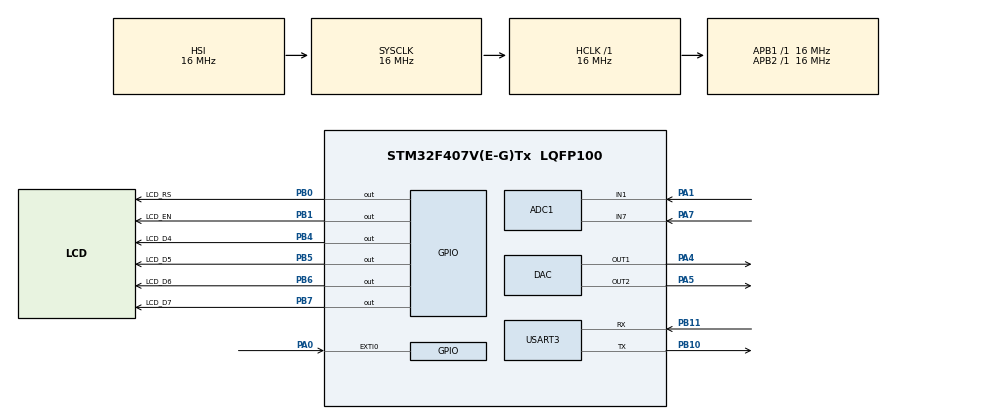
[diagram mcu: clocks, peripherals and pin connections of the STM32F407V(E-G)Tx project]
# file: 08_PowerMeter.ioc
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ADC1.Channel-1\#ChannelRegularConversion=ADC_CHANNEL_1
ADC1.Channel-3\#ChannelRegularConversion=ADC_CHANNEL_7
ADC1.DMAContinuousRequests=ENABLE
ADC1.EOCSelection=ADC_EOC_SEQ_CONV
ADC1.ExternalTrigConv=ADC_EXTERNALTRIGCONV_T3_TRGO
ADC1.NbrOfConversion=2
ADC1.NbrOfConversionFlag=1
ADC1.Rank-1\#ChannelRegularConversion=1
ADC1.Rank-3\#ChannelRegularConversion=2
ADC1.SamplingTime-1\#ChannelRegularConversion=ADC_SAMPLETIME_3CYCLES
ADC1.SamplingTime-3\#ChannelRegularConversion=ADC_SAMPLETIME_3CYCLES
ADC1.ScanConvMode=ENABLE
ADC1.master=1
DAC.DAC_Trigger=DAC_TRIGGER_T6_TRGO
DAC.DAC_Trigger2=DAC_TRIGGER_T6_TRGO
Dma.ADC1.0.Direction=DMA_PERIPH_TO_MEMORY
Dma.ADC1.0.FIFOMode=DMA_FIFOMODE_DISABLE
Dma.ADC1.0.Instance=DMA2_Stream0
Dma.ADC1.0.MemDataAlignment=DMA_MDATAALIGN_HALFWORD
Dma.ADC1.0.MemInc=DMA_MINC_ENABLE
Dma.ADC1.0.Mode=DMA_CIRCULAR
Dma.ADC1.0.PeriphDataAlignment=DMA_PDATAALIGN_HALFWORD
Dma.ADC1.0.PeriphInc=DMA_PINC_DISABLE
Dma.ADC1.0.Priority=DMA_PRIORITY_LOW
Dma.DAC1.1.Direction=DMA_MEMORY_TO_PERIPH
Dma.DAC1.1.FIFOMode=DMA_FIFOMODE_DISABLE
Dma.DAC1.1.Instance=DMA1_Stream5
Dma.DAC1.1.MemDataAlignment=DMA_MDATAALIGN_HALFWORD
Dma.DAC1.1.MemInc=DMA_MINC_ENABLE
Dma.DAC1.1.Mode=DMA_CIRCULAR
Dma.DAC1.1.PeriphDataAlignment=DMA_PDATAALIGN_HALFWORD
Dma.DAC1.1.PeriphInc=DMA_PINC_DISABLE
Dma.DAC1.1.Priority=DMA_PRIORITY_LOW
Dma.DAC2.2.Direction=DMA_MEMORY_TO_PERIPH
Dma.DAC2.2.FIFOMode=DMA_FIFOMODE_DISABLE
Dma.DAC2.2.Instance=DMA1_Stream6
Dma.DAC2.2.MemDataAlignment=DMA_MDATAALIGN_HALFWORD
Dma.DAC2.2.MemInc=DMA_MINC_ENABLE
Dma.DAC2.2.Mode=DMA_CIRCULAR
Dma.DAC2.2.PeriphDataAlignment=DMA_PDATAALIGN_HALFWORD
Dma.DAC2.2.PeriphInc=DMA_PINC_DISABLE
Dma.DAC2.2.Priority=DMA_PRIORITY_LOW
Dma.Request0=ADC1
Dma.Request1=DAC1
Dma.Request2=DAC2
Mcu.Family=STM32F4
Mcu.Name=STM32F407V(E-G)Tx
Mcu.Package=LQFP100
NVIC.DMA1_Stream5_IRQn=true\:0\:0\:false\:false\:true\:false\:true\:true
NVIC.DMA1_Stream6_IRQn=true\:0\:0\:false\:false\:true\:false\:true\:true
NVIC.DMA2_Stream0_IRQn=true\:0\:0\:false\:false\:true\:false\:true\:true
NVIC.EXTI0_IRQn=true\:0\:0\:false\:false\:true\:true\:true\:true
NVIC.PriorityGroup=NVIC_PRIORITYGROUP_4
NVIC.TIM2_IRQn=true\:0\:0\:false\:false\:true\:true\:true\:true
NVIC.TIM4_IRQn=true\:0\:0\:false\:false\:true\:true\:true\:true
PA0-WKUP.GPIO_ModeDefaultEXTI=GPIO_MODE_IT_RISING_FALLING
PA0-WKUP.GPIO_PuPd=GPIO_NOPULL
PA0-WKUP.Signal=GPXTI0
PA1.Signal=ADCx_IN1
PA4.Signal=COMP_DAC1_group
PA5.Signal=COMP_DAC2_group
PA7.Signal=ADCx_IN7
PB0.GPIO_Label=LCD_RS
PB0.Signal=GPIO_Output
PB1.GPIO_Label=LCD_EN
PB1.Signal=GPIO_Output
PB10.Mode=Asynchronous
PB10.Signal=USART3_TX
PB11.Mode=Asynchronous
PB11.Signal=USART3_RX
PB4.GPIO_Label=LCD_D4
PB4.Signal=GPIO_Output
PB5.GPIO_Label=LCD_D5
PB5.Signal=GPIO_Output
PB6.GPIO_Label=LCD_D6
PB6.Signal=GPIO_Output
PB7.GPIO_Label=LCD_D7
PB7.Signal=GPIO_Output
ProjectManager.HeapSize=0x200
ProjectManager.StackSize=0x400
ProjectManager.TargetToolchain=STM32CubeIDE
RCC.AHBFreq_Value=16000000
RCC.APB1Freq_Value=16000000
RCC.APB2Freq_Value=16000000
RCC.CortexFreq_Value=16000000
RCC.HSE_VALUE=25000000
RCC.HSI_VALUE=16000000
RCC.LSE_VALUE=32768
RCC.SYSCLKFreq_VALUE=16000000
RCC.VCOOutputFreq_Value=192000000
SH.ADCx_IN1.0=ADC1_IN1,IN1
SH.ADCx_IN7.0=ADC1_IN7,IN7
SH.COMP_DAC1_group.0=DAC_OUT1,DAC_OUT1
SH.COMP_DAC2_group.0=DAC_OUT2,DAC_OUT2
TIM2.Period=499
TIM2.Prescaler=15999
TIM3.Period=799
TIM3.Prescaler=3
TIM3.TIM_MasterOutputTrigger=TIM_TRGO_UPDATE
TIM4.Period=999
TIM4.Prescaler=15999
TIM6.Period=799
TIM6.Prescaler=3
TIM6.TIM_MasterOutputTrigger=TIM_TRGO_UPDATE
USART3.VirtualMode=VM_ASYNC
VP_TIM2_VS_ClockSourceINT.Mode=Internal
VP_TIM3_VS_ClockSourceINT.Mode=Internal
VP_TIM4_VS_ClockSourceINT.Mode=Internal
VP_TIM6_VS_ClockSourceINT.Mode=Enable_Timer
board=custom

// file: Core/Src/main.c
/* USER CODE BEGIN Header */
/**
  ******************************************************************************
  * @file           : main.c
  * @brief          : Main program body
  ******************************************************************************
  * @attention
  *
  * Copyright (c) 2026 STMicroelectronics.
  * All rights reserved.
  *
  * This software is licensed under terms that can be found in the LICENSE file
  * in the root directory of this software component.
  * If no LICENSE file comes with this software, it is provided AS-IS.
  *
  ******************************************************************************
  */
/* USER CODE END Header */
#include "main.h"

/* USER CODE BEGIN Includes */

#include "power_meter.h"
#include "lcd_2x16_driver.h"
#include "system_sm.h"
#include "math.h"
#include "string.h"
#include "stdio.h"
#include "stdbool.h"
#include "flash_storage.h"

/* USER CODE END Includes */

/* USER CODE BEGIN PD */

#define WAVE_SAMPLES		100
#define ADC_BUFFER_BOYUTU 	200

/* USER CODE END PD */

ADC_HandleTypeDef hadc1;
DMA_HandleTypeDef hdma_adc1;

DAC_HandleTypeDef hdac;
DMA_HandleTypeDef hdma_dac1;
DMA_HandleTypeDef hdma_dac2;

TIM_HandleTypeDef htim2;
TIM_HandleTypeDef htim3;
TIM_HandleTypeDef htim4;
TIM_HandleTypeDef htim6;

UART_HandleTypeDef huart3;

/* USER CODE BEGIN PV */
uint16_t wave_V[WAVE_SAMPLES];    	// gerilim sinüsü
uint16_t wave_I[WAVE_SAMPLES];    	// akım sinüsü (faz kaymalı)
uint16_t adcBuf[ADC_BUFFER_BOYUTU];
volatile bool adcHazir = false;
LCD_t lcd = {
		.rows		= 2,
		.columns    = 16,
		.display_control = 0
};
PowerMeter_t meter;
SystemSM_t sysSM;
/* USER CODE END PV */

void SystemClock_Config(void);
static void MX_GPIO_Init(void);
static void MX_DMA_Init(void);
static void MX_DAC_Init(void);
static void MX_TIM3_Init(void);
static void MX_TIM6_Init(void);
static void MX_ADC1_Init(void);
static void MX_USART3_UART_Init(void);
static void MX_TIM2_Init(void);
static void MX_TIM4_Init(void);

/* USER CODE BEGIN 0 */

void Generate_Waves(float faz_aci){
	float fazKaymaMiktari = faz_aci * (float)M_PI / 180.0f;
	for(int i = 0; i < WAVE_SAMPLES; i++){
		wave_V[i] = (uint16_t)((sinf(2.0f * (float)M_PI* i / WAVE_SAMPLES) + 1.0f) * 2047.0f);
		wave_I[i] = (uint16_t)((sinf(2.0f * (float)M_PI * i / WAVE_SAMPLES - fazKaymaMiktari) + 1.0f) * 2047.0f);
	}
}

void HAL_ADC_ConvCpltCallback(ADC_HandleTypeDef *hadc){
    if(hadc->Instance == ADC1)
        adcHazir = true;
}

void HAL_TIM_PeriodElapsedCallback(TIM_HandleTypeDef *htim){
    if(htim->Instance == TIM2)
        sysSM.lcdUpdateFlag = true;
    else if(htim->Instance == TIM4)
        sysSM.uartTransmitFlag = true;
}

void HAL_GPIO_EXTI_Callback(uint16_t GPIO_Pin)
{
    if (GPIO_Pin == GPIO_PIN_0){
    	if(HAL_GPIO_ReadPin(GPIOA, GPIO_PIN_0) == GPIO_PIN_SET)
    		sysSM.btnPressTime = HAL_GetTick();
    	else{
    		uint32_t duration = HAL_GetTick() - sysSM.btnPressTime;

    		// debounce
    		if(duration < 50)
    			return;
    		if(duration < 500)
    			SystemSM_ButtonEvent(&sysSM, 0);
    		else
    			SystemSM_ButtonEvent(&sysSM, 1);
    	}
    }
}

/* USER CODE END 0 */

int main(void)
{

  /* MCU Configuration--------------------------------------------------------*/

  /* Reset of all peripherals, Initializes the Flash interface and the Systick. */
  HAL_Init();

  /* Configure the system clock */
  SystemClock_Config();

  /* Initialize all configured peripherals */
  MX_GPIO_Init();
  MX_DMA_Init();
  MX_DAC_Init();
  MX_TIM3_Init();
  MX_TIM6_Init();
  MX_ADC1_Init();
  MX_USART3_UART_Init();
  MX_TIM2_Init();
  MX_TIM4_Init();
  /* USER CODE BEGIN 2 */

  // 1-) LCD Init
  LCD_Initialization(&lcd);
  LCD_Clear(&lcd);
  HAL_Delay(10);

  // 2-) PowerMeter Init
  PowerMeter_Init(&meter, PM_FAZ_ENDUKTIF_30);

  // 3-) Flash'dan enerjiyi oku
  float savedEnergy = 0.0f;
  if (Flash_LoadEnergy(&savedEnergy))
      meter.energy_Wh = savedEnergy;

  // 4-) State Machine Init
  SystemSM_Init(&sysSM);

  // 5-) DAC/ADC/TIM/DMA
  HAL_TIM_Base_Start(&htim6);
  HAL_TIM_Base_Start(&htim3);
  HAL_TIM_Base_Start_IT(&htim2);
  HAL_TIM_Base_Start_IT(&htim4);
  HAL_DAC_Start_DMA(&hdac, DAC_CHANNEL_2, (uint32_t*)wave_I, WAVE_SAMPLES, DAC_ALIGN_12B_R);
  HAL_DAC_Start_DMA(&hdac, DAC_CHANNEL_1, (uint32_t*)wave_V, WAVE_SAMPLES, DAC_ALIGN_12B_R);
  HAL_ADC_Start_DMA(&hadc1, (uint32_t*)adcBuf, ADC_BUFFER_BOYUTU);
  /* USER CODE END 2 */

  /* Infinite loop */
  while (1)
  {

    /* USER CODE BEGIN 3 */
	  SystemSM_Run(&sysSM, &meter, &lcd, &huart3, adcBuf, &adcHazir);
	  __WFI();

  }
  /* USER CODE END 3 */
}

void SystemClock_Config(void)
{
  RCC_OscInitTypeDef RCC_OscInitStruct = {0};
  RCC_ClkInitTypeDef RCC_ClkInitStruct = {0};

  /** Configure the main internal regulator output voltage
  */
  __HAL_RCC_PWR_CLK_ENABLE();
  __HAL_PWR_VOLTAGESCALING_CONFIG(PWR_REGULATOR_VOLTAGE_SCALE1);

  /** Initializes the RCC Oscillators according to the specified parameters
  * in the RCC_OscInitTypeDef structure.
  */
  RCC_OscInitStruct.OscillatorType = RCC_OSCILLATORTYPE_HSI;
  RCC_OscInitStruct.HSIState = RCC_HSI_ON;
  RCC_OscInitStruct.HSICalibrationValue = RCC_HSICALIBRATION_DEFAULT;
  RCC_OscInitStruct.PLL.PLLState = RCC_PLL_NONE;
  if (HAL_RCC_OscConfig(&RCC_OscInitStruct) != HAL_OK)
  {
    Error_Handler();
  }

  /** Initializes the CPU, AHB and APB buses clocks
  */
  RCC_ClkInitStruct.ClockType = RCC_CLOCKTYPE_HCLK|RCC_CLOCKTYPE_SYSCLK
                              |RCC_CLOCKTYPE_PCLK1|RCC_CLOCKTYPE_PCLK2;
  RCC_ClkInitStruct.SYSCLKSource = RCC_SYSCLKSOURCE_HSI;
  RCC_ClkInitStruct.AHBCLKDivider = RCC_SYSCLK_DIV1;
  RCC_ClkInitStruct.APB1CLKDivider = RCC_HCLK_DIV1;
  RCC_ClkInitStruct.APB2CLKDivider = RCC_HCLK_DIV1;

  if (HAL_RCC_ClockConfig(&RCC_ClkInitStruct, FLASH_LATENCY_0) != HAL_OK)
  {
    Error_Handler();
  }
}

static void MX_ADC1_Init(void)
{

  ADC_ChannelConfTypeDef sConfig = {0};

  /** Configure the global features of the ADC (Clock, Resolution, Data Alignment and number of conversion)
  */
  hadc1.Instance = ADC1;
  hadc1.Init.ClockPrescaler = ADC_CLOCK_SYNC_PCLK_DIV2;
  hadc1.Init.Resolution = ADC_RESOLUTION_12B;
  hadc1.Init.ScanConvMode = ENABLE;
  hadc1.Init.ContinuousConvMode = DISABLE;
  hadc1.Init.DiscontinuousConvMode = DISABLE;
  hadc1.Init.ExternalTrigConvEdge = ADC_EXTERNALTRIGCONVEDGE_RISING;
  hadc1.Init.ExternalTrigConv = ADC_EXTERNALTRIGCONV_T3_TRGO;
  hadc1.Init.DataAlign = ADC_DATAALIGN_RIGHT;
  hadc1.Init.NbrOfConversion = 2;
  hadc1.Init.DMAContinuousRequests = ENABLE;
  hadc1.Init.EOCSelection = ADC_EOC_SEQ_CONV;
  if (HAL_ADC_Init(&hadc1) != HAL_OK)
  {
    Error_Handler();
  }

  /** Configure for the selected ADC regular channel its corresponding rank in the sequencer and its sample time.
  */
  sConfig.Channel = ADC_CHANNEL_1;
  sConfig.Rank = 1;
  sConfig.SamplingTime = ADC_SAMPLETIME_3CYCLES;
  if (HAL_ADC_ConfigChannel(&hadc1, &sConfig) != HAL_OK)
  {
    Error_Handler();
  }

  /** Configure for the selected ADC regular channel its corresponding rank in the sequencer and its sample time.
  */
  sConfig.Channel = ADC_CHANNEL_7;
  sConfig.Rank = 2;
  if (HAL_ADC_ConfigChannel(&hadc1, &sConfig) != HAL_OK)
  {
    Error_Handler();
  }

}

static void MX_DAC_Init(void)
{

  DAC_ChannelConfTypeDef sConfig = {0};

  /** DAC Initialization
  */
  hdac.Instance = DAC;
  if (HAL_DAC_Init(&hdac) != HAL_OK)
  {
    Error_Handler();
  }

  /** DAC channel OUT1 config
  */
  sConfig.DAC_Trigger = DAC_TRIGGER_T6_TRGO;
  sConfig.DAC_OutputBuffer = DAC_OUTPUTBUFFER_ENABLE;
  if (HAL_DAC_ConfigChannel(&hdac, &sConfig, DAC_CHANNEL_1) != HAL_OK)
  {
    Error_Handler();
  }

  /** DAC channel OUT2 config
  */
  if (HAL_DAC_ConfigChannel(&hdac, &sConfig, DAC_CHANNEL_2) != HAL_OK)
  {
    Error_Handler();
  }

}

static void MX_TIM2_Init(void)
{

  TIM_ClockConfigTypeDef sClockSourceConfig = {0};
  TIM_MasterConfigTypeDef sMasterConfig = {0};

  htim2.Instance = TIM2;
  htim2.Init.Prescaler = 15999;
  htim2.Init.CounterMode = TIM_COUNTERMODE_UP;
  htim2.Init.Period = 499;
  htim2.Init.ClockDivision = TIM_CLOCKDIVISION_DIV1;
  htim2.Init.AutoReloadPreload = TIM_AUTORELOAD_PRELOAD_DISABLE;
  if (HAL_TIM_Base_Init(&htim2) != HAL_OK)
  {
    Error_Handler();
  }
  sClockSourceConfig.ClockSource = TIM_CLOCKSOURCE_INTERNAL;
  if (HAL_TIM_ConfigClockSource(&htim2, &sClockSourceConfig) != HAL_OK)
  {
    Error_Handler();
  }
  sMasterConfig.MasterOutputTrigger = TIM_TRGO_RESET;
  sMasterConfig.MasterSlaveMode = TIM_MASTERSLAVEMODE_DISABLE;
  if (HAL_TIMEx_MasterConfigSynchronization(&htim2, &sMasterConfig) != HAL_OK)
  {
    Error_Handler();
  }

}

static void MX_TIM3_Init(void)
{

  TIM_ClockConfigTypeDef sClockSourceConfig = {0};
  TIM_MasterConfigTypeDef sMasterConfig = {0};

  htim3.Instance = TIM3;
  htim3.Init.Prescaler = 3;
  htim3.Init.CounterMode = TIM_COUNTERMODE_UP;
  htim3.Init.Period = 799;
  htim3.Init.ClockDivision = TIM_CLOCKDIVISION_DIV1;
  htim3.Init.AutoReloadPreload = TIM_AUTORELOAD_PRELOAD_DISABLE;
  if (HAL_TIM_Base_Init(&htim3) != HAL_OK)
  {
    Error_Handler();
  }
  sClockSourceConfig.ClockSource = TIM_CLOCKSOURCE_INTERNAL;
  if (HAL_TIM_ConfigClockSource(&htim3, &sClockSourceConfig) != HAL_OK)
  {
    Error_Handler();
  }
  sMasterConfig.MasterOutputTrigger = TIM_TRGO_UPDATE;
  sMasterConfig.MasterSlaveMode = TIM_MASTERSLAVEMODE_DISABLE;
  if (HAL_TIMEx_MasterConfigSynchronization(&htim3, &sMasterConfig) != HAL_OK)
  {
    Error_Handler();
  }

}

static void MX_TIM4_Init(void)
{

  TIM_ClockConfigTypeDef sClockSourceConfig = {0};
  TIM_MasterConfigTypeDef sMasterConfig = {0};

  htim4.Instance = TIM4;
  htim4.Init.Prescaler = 15999;
  htim4.Init.CounterMode = TIM_COUNTERMODE_UP;
  htim4.Init.Period = 999;
  htim4.Init.ClockDivision = TIM_CLOCKDIVISION_DIV1;
  htim4.Init.AutoReloadPreload = TIM_AUTORELOAD_PRELOAD_DISABLE;
  if (HAL_TIM_Base_Init(&htim4) != HAL_OK)
  {
    Error_Handler();
  }
  sClockSourceConfig.ClockSource = TIM_CLOCKSOURCE_INTERNAL;
  if (HAL_TIM_ConfigClockSource(&htim4, &sClockSourceConfig) != HAL_OK)
  {
    Error_Handler();
  }
  sMasterConfig.MasterOutputTrigger = TIM_TRGO_RESET;
  sMasterConfig.MasterSlaveMode = TIM_MASTERSLAVEMODE_DISABLE;
  if (HAL_TIMEx_MasterConfigSynchronization(&htim4, &sMasterConfig) != HAL_OK)
  {
    Error_Handler();
  }

}

static void MX_TIM6_Init(void)
{

  TIM_MasterConfigTypeDef sMasterConfig = {0};

  htim6.Instance = TIM6;
  htim6.Init.Prescaler = 3;
  htim6.Init.CounterMode = TIM_COUNTERMODE_UP;
  htim6.Init.Period = 799;
  htim6.Init.AutoReloadPreload = TIM_AUTORELOAD_PRELOAD_DISABLE;
  if (HAL_TIM_Base_Init(&htim6) != HAL_OK)
  {
    Error_Handler();
  }
  sMasterConfig.MasterOutputTrigger = TIM_TRGO_UPDATE;
  sMasterConfig.MasterSlaveMode = TIM_MASTERSLAVEMODE_DISABLE;
  if (HAL_TIMEx_MasterConfigSynchronization(&htim6, &sMasterConfig) != HAL_OK)
  {
    Error_Handler();
  }

}

static void MX_USART3_UART_Init(void)
{

  huart3.Instance = USART3;
  huart3.Init.BaudRate = 115200;
  huart3.Init.WordLength = UART_WORDLENGTH_8B;
  huart3.Init.StopBits = UART_STOPBITS_1;
  huart3.Init.Parity = UART_PARITY_NONE;
  huart3.Init.Mode = UART_MODE_TX_RX;
  huart3.Init.HwFlowCtl = UART_HWCONTROL_NONE;
  huart3.Init.OverSampling = UART_OVERSAMPLING_16;
  if (HAL_UART_Init(&huart3) != HAL_OK)
  {
    Error_Handler();
  }

}

static void MX_DMA_Init(void)
{

  /* DMA controller clock enable */
  __HAL_RCC_DMA2_CLK_ENABLE();
  __HAL_RCC_DMA1_CLK_ENABLE();

  /* DMA interrupt init */
  /* DMA1_Stream5_IRQn interrupt configuration */
  HAL_NVIC_SetPriority(DMA1_Stream5_IRQn, 0, 0);
  HAL_NVIC_EnableIRQ(DMA1_Stream5_IRQn);
  /* DMA1_Stream6_IRQn interrupt configuration */
  HAL_NVIC_SetPriority(DMA1_Stream6_IRQn, 0, 0);
  HAL_NVIC_EnableIRQ(DMA1_Stream6_IRQn);
  /* DMA2_Stream0_IRQn interrupt configuration */
  HAL_NVIC_SetPriority(DMA2_Stream0_IRQn, 0, 0);
  HAL_NVIC_EnableIRQ(DMA2_Stream0_IRQn);

}

static void MX_GPIO_Init(void)
{
  GPIO_InitTypeDef GPIO_InitStruct = {0};

  /* GPIO Ports Clock Enable */
  __HAL_RCC_GPIOA_CLK_ENABLE();
  __HAL_RCC_GPIOB_CLK_ENABLE();

  /*Configure GPIO pin Output Level */
  HAL_GPIO_WritePin(GPIOB, LCD_RS_Pin|LCD_EN_Pin|LCD_D4_Pin|LCD_D5_Pin
                          |LCD_D6_Pin|LCD_D7_Pin, GPIO_PIN_RESET);

  /*Configure GPIO pin : PA0 */
  GPIO_InitStruct.Pin = GPIO_PIN_0;
  GPIO_InitStruct.Mode = GPIO_MODE_IT_RISING_FALLING;
  GPIO_InitStruct.Pull = GPIO_NOPULL;
  HAL_GPIO_Init(GPIOA, &GPIO_InitStruct);

  /*Configure GPIO pins : LCD_RS_Pin LCD_EN_Pin LCD_D4_Pin LCD_D5_Pin
                           LCD_D6_Pin LCD_D7_Pin */
  GPIO_InitStruct.Pin = LCD_RS_Pin|LCD_EN_Pin|LCD_D4_Pin|LCD_D5_Pin
                          |LCD_D6_Pin|LCD_D7_Pin;
  GPIO_InitStruct.Mode = GPIO_MODE_OUTPUT_PP;
  GPIO_InitStruct.Pull = GPIO_NOPULL;
  GPIO_InitStruct.Speed = GPIO_SPEED_FREQ_LOW;
  HAL_GPIO_Init(GPIOB, &GPIO_InitStruct);

  /* EXTI interrupt init*/
  HAL_NVIC_SetPriority(EXTI0_IRQn, 0, 0);
  HAL_NVIC_EnableIRQ(EXTI0_IRQn);

}

void Error_Handler(void)
{
  __disable_irq();
  while (1)
  {
  }
}
